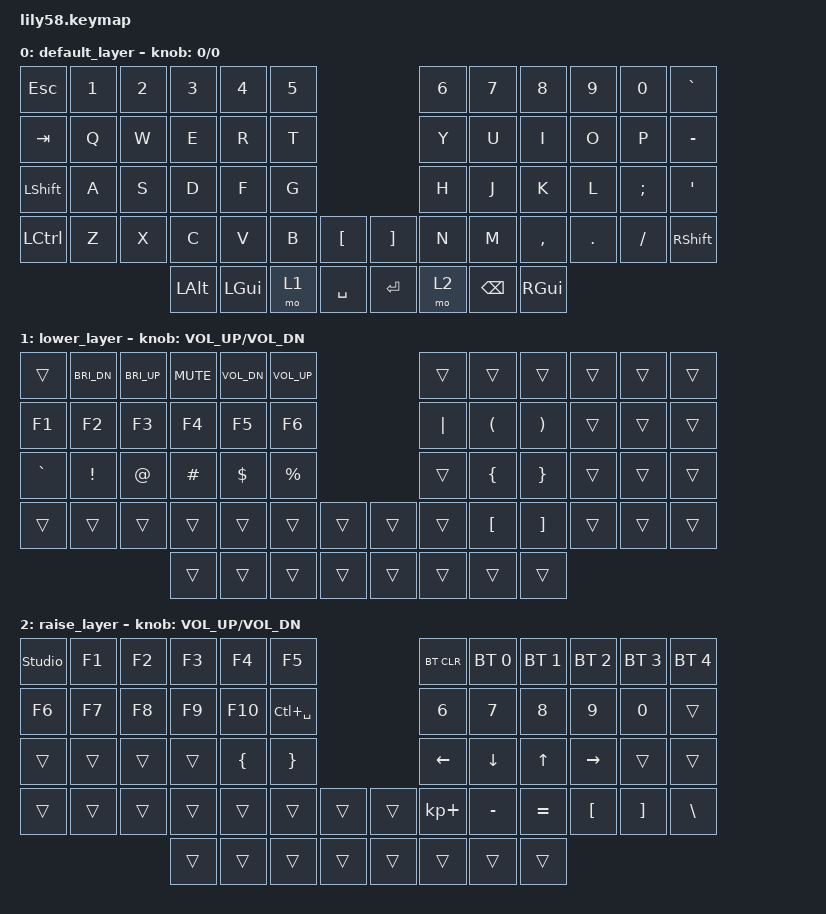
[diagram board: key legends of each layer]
/*
 * Copyright (c) 2020 The ZMK Contributors
 *
 * SPDX-License-Identifier: MIT
 */

#include <behaviors.dtsi>
#include <dt-bindings/zmk/bt.h>
#include <dt-bindings/zmk/keys.h>

/ {
    keymap {
        compatible = "zmk,keymap";

        default_layer {
            // ------------------------------------------------------------------------------------------------------------
            // |  ESC  |  1  |  2  |  3   |  4   |  5   |                   |  6   |  7    |  8    |  9   |   0   |   `   |
            // |  TAB  |  Q  |  W  |  E   |  R   |  T   |                   |  Y   |  U    |  I    |  O   |   P   |   -   |
            // |  CTRL |  A  |  S  |  D   |  F   |  G   |                   |  H   |  J    |  K    |  L   |   ;   |   '   |
            // | SHIFT |  Z  |  X  |  C   |  V   |  B   |   "["  |  |  "]"  |  N   |  M    |  ,    |  .   |   /   | SHIFT |
            //                     | ALT  | GUI  | LOWER|  SPACE |  | ENTER | RAISE| BSPC  | GUI   |

            bindings = <
&kp ESC         &kp N1  &kp N2  &kp N3    &kp N4    &kp N5                         &kp N6  &kp N7    &kp N8     &kp N9   &kp N0         &kp GRAVE
&kp TAB         &kp Q   &kp W   &kp E     &kp R     &kp T                          &kp Y   &kp U     &kp I      &kp O    &kp P          &kp MINUS
&kp LEFT_SHIFT  &kp A   &kp S   &kp D     &kp F     &kp G                          &kp H   &kp J     &kp K      &kp L    &kp SEMICOLON  &kp SQT
&kp LCTRL       &kp Z   &kp X   &kp C     &kp V     &kp B   &kp LBKT     &kp RBKT  &kp N   &kp M     &kp COMMA  &kp DOT  &kp FSLH       &kp RSHFT
                                &kp LALT  &kp LGUI  &mo 1   &kp SPACE    &kp RET   &mo 2   &kp BSPC  &kp RGUI
            >;

            sensor-bindings = <&inc_dec_kp 0 0>;
        };

        lower_layer {
            // --------------------------------------------------------------------------------------------------------------
            // | LPAD  | BRDn | BRUp |  MUT |  Vo- |  Vo+ |                   |      |       |       |      |       |       |
            // |  F1   |  F2  |  F3  |  F4  |  F5  |  F6  |                   |  F7  |  F8   |  F9   |  F10 |  F11  |  F12  |
            // |   `   |  !   |  @   |  #   |  $   |  %   |                   |  ^   |  &    |  *    |  (   |   )   |   ~   |
            // |       |      |      |      |      |      |        |  |       |      |  _    |  +    |  {   |   }   |  "|"  |
            //                       |      |      |      |        |  |       |      |       |       |

            bindings = <
&trans     &kp C_BRI_DN  &kp C_BRI_UP  &kp C_MUTE  &kp C_VOL_DN  &kp C_VOL_UP                    &trans    &trans                &trans                 &trans  &trans  &trans
&kp F1     &kp F2        &kp F3        &kp F4      &kp F5        &kp F6                          &kp PIPE  &kp LEFT_PARENTHESIS  &kp RIGHT_PARENTHESIS  &trans  &trans  &trans
&kp GRAVE  &kp EXCL      &kp AT        &kp HASH    &kp DOLLAR    &kp PRCNT                       &trans    &kp LEFT_BRACE        &kp RIGHT_BRACE        &trans  &trans  &trans
&trans     &trans        &trans        &trans      &trans        &trans        &trans    &trans  &trans    &kp LBKT              &kp RIGHT_BRACKET      &trans  &trans  &trans
                                       &trans      &trans        &trans        &trans    &trans  &trans    &trans                &trans
            >;

            sensor-bindings = <&inc_dec_kp C_VOL_UP C_VOL_DN>;
        };

        raise_layer {
            // ------------------------------------------------------------------------------------------------------------
            // |       |     |     |      |      |      |                   |      |       |       |      |       |       |
            // |   `   |  1  |  2  |  3   |  4   |  5   |                   |  6   |   7   |   8   |  9   |   0   |       |
            // |   F1  |  F2 |  F3 |  F4  |  F5  |  F6  |                   |      |   <-  |   v   |  ^   |  ->   |       |
            // |   F7  |  F8 |  F9 |  F10 |  F11 |  F12 |        |  |       |  +   |   -   |   =   |  [   |   ]   |   \   |
            //                     |      |      |      |        |  |       |      |       |       |

            bindings = <
&studio_unlock  &kp F1  &kp F2  &kp F3  &kp F4          &kp F5                             &bt BT_CLR      &bt BT_SEL 0    &bt BT_SEL 1  &bt BT_SEL 2  &bt BT_SEL 3  &bt BT_SEL 4
&kp F6          &kp F7  &kp F8  &kp F9  &kp F10         &kp LC(SPACE)                      &kp N6          &kp N7          &kp N8        &kp N9        &kp N0        &trans
&trans          &trans  &trans  &trans  &kp LEFT_BRACE  &kp RIGHT_BRACE                    &kp LEFT_ARROW  &kp DOWN_ARROW  &kp UP_ARROW  &kp RIGHT     &trans        &trans
&trans          &trans  &trans  &trans  &trans          &trans           &trans    &trans  &kp KP_PLUS     &kp MINUS       &kp EQUAL     &kp LBKT      &kp RBKT      &kp BSLH
                                &trans  &trans          &trans           &trans    &trans  &trans          &trans          &trans
            >;

            sensor-bindings = <&inc_dec_kp C_VOL_UP C_VOL_DN>;
        };
    };
};
